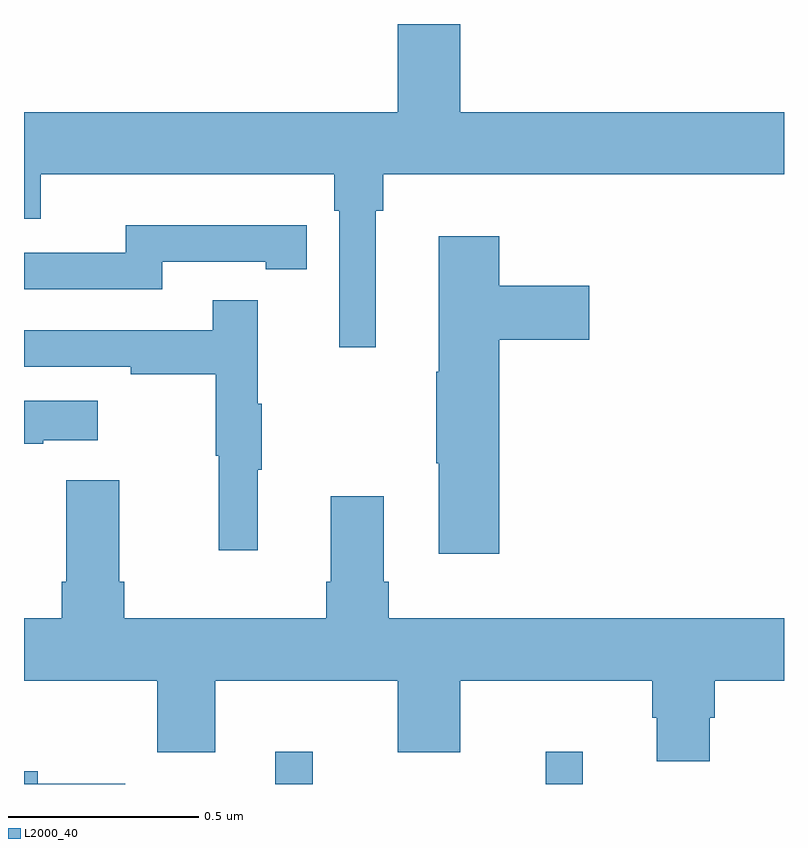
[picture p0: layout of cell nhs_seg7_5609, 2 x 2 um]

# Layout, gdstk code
import gdstk
lib = gdstk.Library(unit=1e-6, precision=1e-09)
def R(c, l, rs):  # rectangles x0, y0, x1, y1
    for r in rs: c.add(gdstk.rectangle(r[:2], r[2:], *l))
def P(c, l, *ps):  # polygons
    for p in ps: c.add(gdstk.Polygon(p, *l))
L2000_40 = (2000, 40)

nhs_seg7_5609 = lib.new_cell('nhs_seg7_5609')
R(nhs_seg7_5609, L2000_40, [(188.661,1011,188.76,1011.085), (189.373,1011,189.471,1011.085)])
P(nhs_seg7_5609, L2000_40, [(188.926,1012.508),(188.945,1012.508),(188.945,1012.604),(190,1012.604),(190,1012.768),(189.148,1012.768),(189.148,1013),(188.984,1013),(188.984,1012.768),(188,1012.768),(188,1012.487),(188.044,1012.487),(188.044,1012.604),(188.816,1012.604),(188.816,1012.508),(188.829,1012.508),(188.829,1012.149),(188.926,1012.149)],
  [(188.364,1012.374),(188.636,1012.374),(188.636,1012.354),(188.744,1012.354),(188.744,1012.47),(188.636,1012.47),(188.636,1012.471),(188.268,1012.471),(188.268,1012.398),(188,1012.398),(188,1012.302),(188.364,1012.302)],
  [(189.251,1012.169),(189.487,1012.169),(189.487,1012.311),(189.251,1012.311),(189.251,1012.441),(189.092,1012.441),(189.092,1012.085),(189.085,1012.085),(189.085,1011.844),(189.092,1011.844),(189.092,1011.606),(189.251,1011.606)],
  [(188.615,1011.827),(188.626,1011.827),(188.626,1012.001),(188.615,1012.001),(188.615,1012.273),(188.497,1012.273),(188.497,1012.194),(188,1012.194),(188,1012.098),(188.281,1012.098),(188.281,1012.078),(188.505,1012.078),(188.505,1011.864),(188.512,1011.864),(188.512,1011.615),(188.615,1011.615)],
  [(188.051,1011.905),(188.194,1011.905),(188.194,1012.009),(188,1012.009),(188,1011.895),(188.051,1011.895)],
  [(189.805,1011.174),(189.818,1011.174),(189.818,1011.272),(190,1011.272),(190,1011.436),(188.96,1011.436),(188.96,1011.532),(188.947,1011.532),(188.947,1011.757),(188.807,1011.757),(188.807,1011.532),(188.795,1011.532),(188.795,1011.436),(188.264,1011.436),(188.264,1011.532),(188.251,1011.532),(188.251,1011.799),(188.111,1011.799),(188.111,1011.532),(188.099,1011.532),(188.099,1011.436),(188,1011.436),(188,1011.272),(188.351,1011.272),(188.351,1011.083),(188.503,1011.083),(188.503,1011.272),(188.984,1011.272),(188.984,1011.084),(189.148,1011.084),(189.148,1011.272),(189.653,1011.272),(189.653,1011.174),(189.665,1011.174),(189.665,1011.06),(189.805,1011.06)],
  [(188.267,1011.001),(188.036,1011.001),(188.036,1011.034),(188,1011.034),(188,1011),(188.267,1011)])

lib.write_gds('nhs_seg7_5609.gds')
